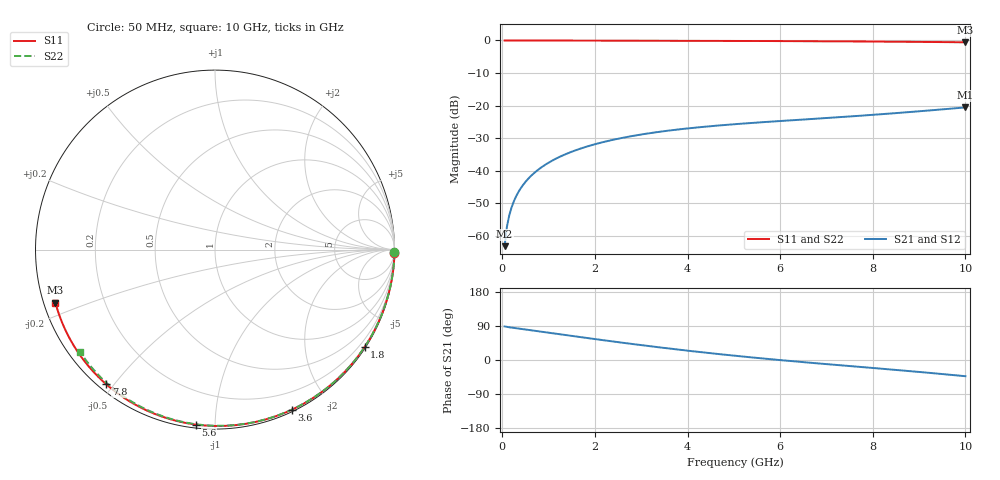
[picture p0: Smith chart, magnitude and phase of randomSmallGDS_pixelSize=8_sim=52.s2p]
! freq	dB(S11)	phase(S11)	dB(S12)	phase(S12)
!  dB(S21)	phase(S21)	dB(S22)	phase(S22)
!S-par simulation data
#  GHz  S  DB  R 50
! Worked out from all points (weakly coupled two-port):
!   200 points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, 50 MHz to 10 GHz, reference 50 ohm
!   highest |S21| = -20.55 dB at 10 GHz (marker M1); lowest = -63.1 dB at 50 MHz (marker M2)
!   lowest |S11| = -0.6 dB at 10 GHz (marker M3), VSWR 30.71, Z = 1.67 - j8.08 ohm
!   |S11| at or under -10 dB: nowhere
!   |S22| runs from -0.5 to 0.0 dB; largest |S21 - S12| = 0
!   S11 on the Smith chart (normalised r, x): 50 MHz: open; 1.8 GHz: 0.03, -3.36; 3.6 GHz: 0.02, -1.59; 5.6 GHz: 0.02, -0.90; 7.8 GHz: 0.02, -0.48; 10 GHz: 0.03, -0.16
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0.05  -0.00 -0.9  -63.13 88.6  -63.13 88.6  -0.00 -0.8
0.1  -0.00 -1.9  -57.16 87.4  -57.16 87.4  -0.00 -1.7
0.15  -0.00 -2.8  -53.70 86.4  -53.70 86.4  -0.00 -2.5
0.2  -0.00 -3.8  -51.24 85.5  -51.24 85.5  -0.00 -3.4
0.35  -0.00 -6.6  -46.46 83.0  -46.46 83.0  -0.00 -5.9
0.5  -0.01 -9.4  -43.41 80.5  -43.41 80.5  -0.01 -8.4
0.7  -0.01 -13.1  -40.53 77.2  -40.53 77.2  -0.01 -11.7
1  -0.02 -18.6  -37.51 72.1  -37.51 72.1  -0.02 -16.7
1.35  -0.03 -25.0  -35.01 66.1  -35.01 66.1  -0.03 -22.5
1.75  -0.04 -32.2  -32.90 59.4  -32.90 59.4  -0.04 -29.0
1.8  -0.04 -33.1  -32.68 58.5  -32.68 58.5  -0.04 -29.8
2.6  -0.06 -47.3  -29.87 45.5  -29.87 45.5  -0.06 -42.6
3.4  -0.09 -61.0  -28.02 33.3  -28.02 33.3  -0.08 -54.9
3.6  -0.09 -64.4  -27.65 30.3  -27.65 30.3  -0.08 -58.0
4.3  -0.12 -75.9  -26.57 20.6  -26.57 20.6  -0.10 -68.4
5.05  -0.14 -87.8  -25.66 10.9  -25.66 10.9  -0.13 -79.1
5.6  -0.17 -96.3  -25.10 4.3  -25.10 4.3  -0.15 -86.7
6.7  -0.23 -112.8  -24.08 -7.8  -24.08 -7.8  -0.21 -101.5
7.8  -0.32 -128.9  -23.03 -19.0  -23.03 -19.0  -0.28 -115.5
8.35  -0.37 -137.0  -22.46 -24.6  -22.46 -24.6  -0.33 -122.4
9.2  -0.46 -149.5  -21.51 -33.7  -21.51 -33.7  -0.41 -132.9
10  -0.57 -161.6  -20.55 -42.8  -20.55 -42.8  -0.50 -142.7
